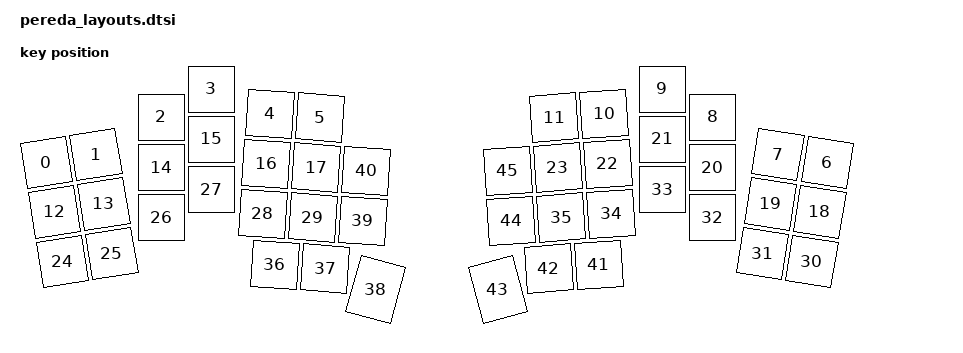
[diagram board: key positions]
#include <physical_layouts.dtsi>

/ {
    pereda: pereda {
        compatible = "zmk,physical-layout";
        display-name = "Pereda";

        transform = <&matrix_transform0>;

        keys  //                     w   h    x    y     rot    rx    ry
            = <&key_physical_attrs 100 100    7  147  (-900)    57   197>
            , <&key_physical_attrs 100 100  106  131  (-900)   156   181>
            , <&key_physical_attrs 100 100  237   56       0     0     0>
            , <&key_physical_attrs 100 100  337    0       0     0     0>
            , <&key_physical_attrs 100 100  454   50     400   504   100>
            , <&key_physical_attrs 100 100  554   57     400   604   107>
            , <&key_physical_attrs 100 100 1569  147     900  1619   197>
            , <&key_physical_attrs 100 100 1470  131     900  1520   181>
            , <&key_physical_attrs 100 100 1340   56       0     0     0>
            , <&key_physical_attrs 100 100 1239    0       0     0     0>
            , <&key_physical_attrs 100 100 1123   50  (-400)  1173   100>
            , <&key_physical_attrs 100 100 1023   57  (-400)  1073   107>
            , <&key_physical_attrs 100 100   23  246  (-900)    73   296>
            , <&key_physical_attrs 100 100  122  230  (-900)   172   280>
            , <&key_physical_attrs 100 100  237  157       0     0     0>
            , <&key_physical_attrs 100 100  337  100       0     0     0>
            , <&key_physical_attrs 100 100  447  150     400   497   200>
            , <&key_physical_attrs 100 100  547  157     400   597   207>
            , <&key_physical_attrs 100 100 1554  246     900  1604   296>
            , <&key_physical_attrs 100 100 1455  230     900  1505   280>
            , <&key_physical_attrs 100 100 1340  157       0     0     0>
            , <&key_physical_attrs 100 100 1239  100       0     0     0>
            , <&key_physical_attrs 100 100 1130  150  (-400)  1180   200>
            , <&key_physical_attrs 100 100 1030  157  (-400)  1080   207>
            , <&key_physical_attrs 100 100   39  345  (-900)    89   395>
            , <&key_physical_attrs 100 100  138  329  (-900)   188   379>
            , <&key_physical_attrs 100 100  237  257       0     0     0>
            , <&key_physical_attrs 100 100  337  201       0     0     0>
            , <&key_physical_attrs 100 100  440  250     400   490   300>
            , <&key_physical_attrs 100 100  540  257     400   590   307>
            , <&key_physical_attrs 100 100 1538  345     900  1588   395>
            , <&key_physical_attrs 100 100 1439  329     900  1489   379>
            , <&key_physical_attrs 100 100 1340  257       0     0     0>
            , <&key_physical_attrs 100 100 1239  201       0     0     0>
            , <&key_physical_attrs 100 100 1137  250  (-400)  1187   300>
            , <&key_physical_attrs 100 100 1037  257  (-400)  1087   307>
            , <&key_physical_attrs 100 100  464  352     400   515   402>
            , <&key_physical_attrs 100 100  565  359     400   615   409>
            , <&key_physical_attrs 100 125  669  389    1500   719   439>
            , <&key_physical_attrs 100 100  640  264     400   690   314>
            , <&key_physical_attrs 100 100  647  164     400   697   214>
            , <&key_physical_attrs 100 100 1112  352  (-400)  1162   402>
            , <&key_physical_attrs 100 100 1012  359  (-400)  1062   409>
            , <&key_physical_attrs 100 125  907  389 (-1500)   957   439>
            , <&key_physical_attrs 100 100  937  264  (-400)   987   314>
            , <&key_physical_attrs 100 100  930  164  (-400)   980   214>
            ;
    };

    position_map {
        compatible = "zmk,physical-layout-position-map";

        pereda {
            physical-layout = <&pereda>;
            positions = <>;
        };
    };
};
